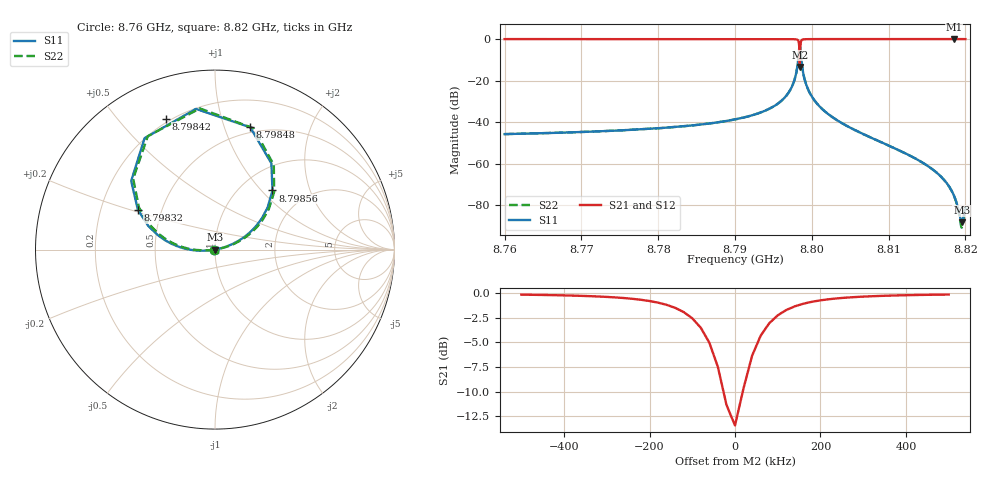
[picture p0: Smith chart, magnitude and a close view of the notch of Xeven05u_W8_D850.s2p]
! Sonnet Data File
! From: emgraph Version : 16.52
! From Project: Qubit_Xmon2_brg_para
! Data is De-embedded
! Data File Written: 11/12/2017 19:09:19
!< HDATE 11/12/2017 17:12:30
!< MDATE 11/12/2017 17:12:30
!< PARAMS
!< Lj = 11.0
!< Gap = 6.0
!< Pwid = 2000.0
!< Airgap = 6.0
!< Width = 10.0
!< Bwid = 8.0
!< Dis1 = 850.0
!< Dis2 = 856.0
!< END PARAMS
# GHZ S MA R 51.80000
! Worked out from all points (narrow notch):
!   3001 points, 8.76 GHz to 8.82 GHz, reference 51.8 ohm
!   highest |S21| = 0.00 dB at 8.81852 GHz (marker M1); lowest = -13.4 dB at 8.79844 GHz (marker M2)
!   notch at M2: 13.4 dB deep, 84 kHz wide at half that depth
!   lowest |S11| = -88.1 dB at 8.81952 GHz (marker M3), VSWR 1.00, Z = 51.8 + j0.00401 ohm
!   |S11| at or under -10 dB: start of sweep to 8.79823 GHz; 8.798638 GHz to end of sweep
!   |S22| runs from -90.7 to -2.0 dB; largest |S21 - S12| = 0
!   S11 on the Smith chart (normalised r, x): 8.76 GHz: 0.99, -0.00; 8.79832 GHz: 0.37, +0.21; 8.79842 GHz: 0.18, +0.68; 8.79848 GHz: 0.45, +1.23; 8.79856 GHz: 1.38, +1.15; 8.82 GHz: 1.00, +0.00
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8.76  0.005173 -170.1  1 -80.5  1 -80.5  0.005173 -171.0
!< P1 F=8.76 Eeff=(6.44679139 -2.9786e-5) Z0=(51.7991425 1.19067e-4) R=0.0 C=0.0
!< P2 F=8.76 Eeff=(6.44679139 -2.9786e-5) Z0=(51.7991425 1.19067e-4) R=0.0 C=0.0
8.77  0.005817 -170.2  1 -80.6  1 -80.6  0.005818 -171.2
8.78  0.007161 -170.3  1 -80.8  1 -80.8  0.007161 -171.4
8.79  0.01169 -170.6  0.9999 -81.2  0.9999 -81.2  0.01169 -171.9
8.79384  0.01866 -171.1  0.9998 -81.6  0.9998 -81.6  0.01866 -172.5
8.79626  0.03568 -172.3  0.9991 -82.6  0.9991 -82.6  0.03567 -173.8
8.79758  0.08514 -175.8  0.9946 -85.5  0.9946 -85.5  0.08514 -177.4
8.79812  0.2176 174.4  0.9636 -93.1  0.9636 -93.1  0.2176 172.8
8.79832  0.4838 152.7  0.8027 -109.1  0.8027 -109.1  0.4838 151.1
8.79842  0.7795 110.5  0.2709 -111.3  0.2709 -111.3  0.7795 108.8
8.79844  0.791 97.7  0.2127 -71.1  0.2127 -71.1  0.791 96.1
8.79848  0.7092 73.9  0.4813 -39.8  0.4813 -39.8  0.7091 72.3
8.79856  0.4595 45.8  0.8225 -53.5  0.8225 -53.5  0.4595 44.2
8.79876  0.2066 25.5  0.9665 -68.7  0.9665 -68.7  0.2066 23.8
8.79914  0.09598 17.3  0.9928 -75.1  0.9928 -75.1  0.09598 15.7
8.8  0.04163 13.4  0.9986 -78.2  0.9986 -78.2  0.04163 11.7
8.80318  0.0115 11.3  0.9999 -80.0  0.9999 -80.0  0.0115 9.4
8.81  0.00275 11.3  1 -80.5  1 -80.5  0.00275 8.2
8.81584  0.0007071 13.4  1 -80.7  1 -80.7  0.0007064 6.2
8.81852  0.0001706 23.5  1 -80.8  1 -80.8  0.0001683 -1.4
8.81952  3.944e-05 100.7  1 -80.8  1 -80.8  2.906e-05 -82.6
8.82  8.451e-05 162.3  1 -80.8  1 -80.8  8.037e-05 -150.3
